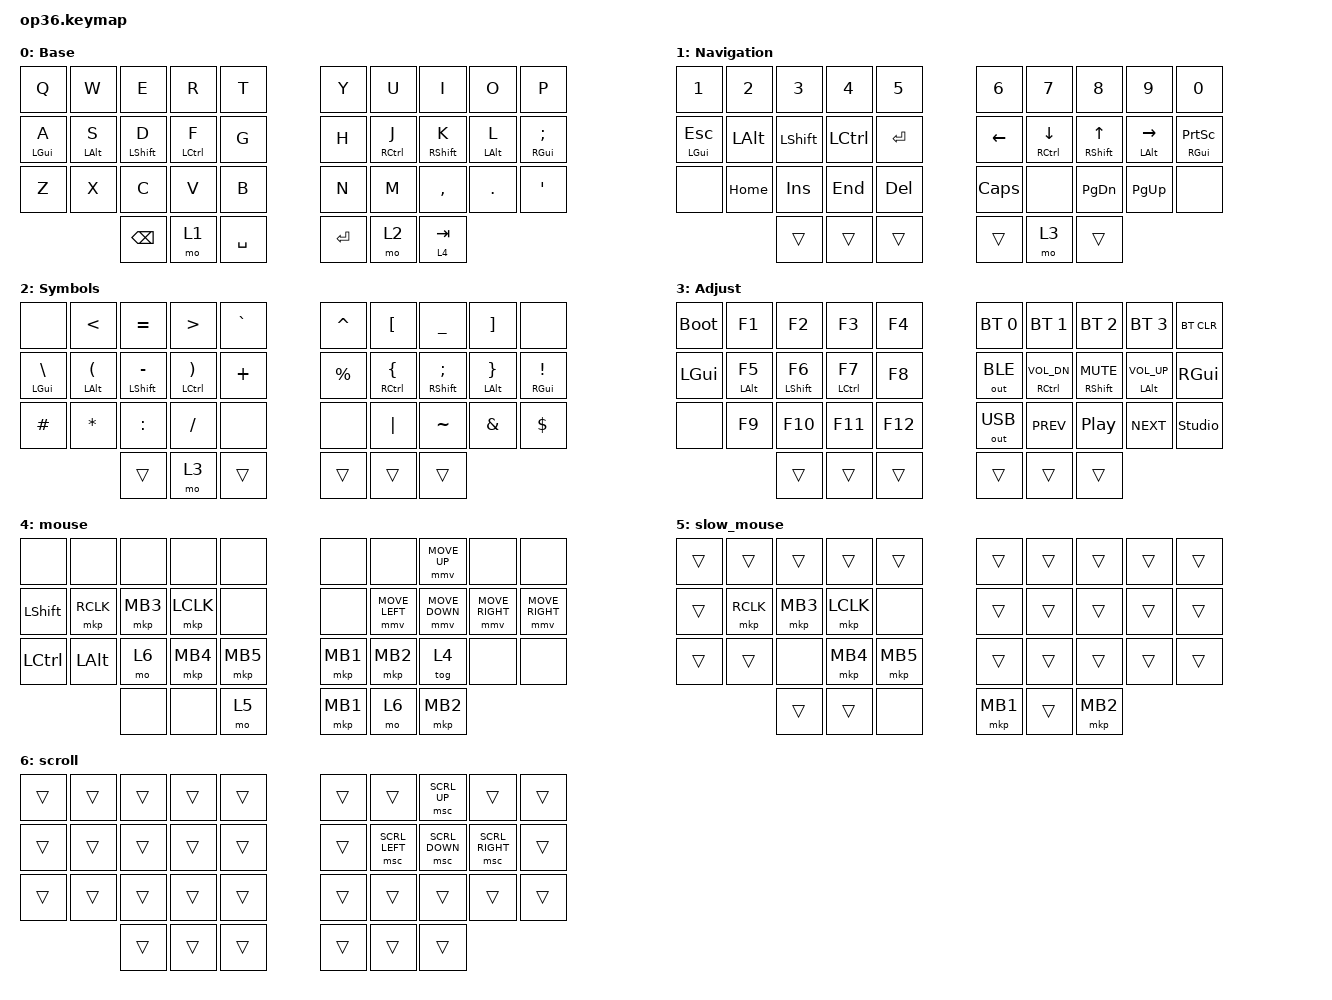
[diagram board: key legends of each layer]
#include "keys_ru.h"

#define ZMK_POINTING_DEFAULT_MOVE_VAL 1500  // default: 600
#define ZMK_POINTING_DEFAULT_SCRL_VAL 25    // default: 10
#define SLOW_MOUSE_L 5
#define MOUSE_L 4

#include <input/processors.dtsi>
#include <behaviors.dtsi>
#include <dt-bindings/zmk/bt.h>
#include <dt-bindings/zmk/keys.h>
#include <dt-bindings/zmk/outputs.h>
#include <dt-bindings/zmk/pointing.h>

&mt {
    quick-tap-ms = <200>;
    flavor = "tap-preferred";
    require-prior-idle-ms = <125>;
};

&mmv_input_listener {
    set_mouse_fast {
        layers = <SLOW_MOUSE_L>;
        input-processors = <&zip_xy_scaler 2 5>;
    };
};

/ {
    behaviors {
        hml: home_row_mod_left {
            compatible = "zmk,behavior-hold-tap";
            #binding-cells = <2>;
            flavor = "balanced";
            require-prior-idle-ms = <150>;
            tapping-term-ms = <200>;
            quick-tap-ms = <200>;
            bindings = <&kp>, <&kp>;

            hold-trigger-key-positions = <5 6 7 8 9 15 16 17 18 19 25 26 27 28 29 33 34 35>;
            hold-trigger-on-release;
        };

        hmr: home_row_mod_right {
            compatible = "zmk,behavior-hold-tap";
            #binding-cells = <2>;
            flavor = "balanced";
            require-prior-idle-ms = <150>;
            tapping-term-ms = <200>;
            quick-tap-ms = <200>;
            bindings = <&kp>, <&kp>;

            hold-trigger-key-positions = <0 1 2 3 4 10 11 12 13 14 20 21 22 23 24 30 31 32>;
            hold-trigger-on-release;
        };

        mokp: mo_or_key {
            compatible = "zmk,behavior-hold-tap";
            label = "mo_or_press_key";
            bindings = <&mo>, <&kp>;

            #binding-cells = <2>;
            tapping-term-ms = <200>;
            quick-tap-ms = <200>;
            require-prior-idle-ms = <150>;
            flavor = "balanced";
            hold-trigger-on-release;
        };

        tog_kp: tog_kp {
            compatible = "zmk,behavior-hold-tap";
            label = "TOG_KP";
            #binding-cells = <2>;
            tapping-term-ms = <280>;
            quick-tap-ms = <175>;
            require-prior-idle-ms = <150>;
            flavor = "balanced";
            hold-trigger-on-release;
            bindings = <&tog>, <&kp>;
        };

        tog_on: tog_on {
            compatible = "zmk,behavior-toggle-layer";
            label = "TOG_ON";
            #binding-cells = <1>;
        };
    };

    combos {
        compatible = "zmk,combos";

        kha {
            bindings = <&kp LBKT>;
            key-positions = <6 7>;
        };

        hrdsgn {
            bindings = <&kp RBKT>;
            key-positions = <7 8>;
        };

        combo_perma_mouse {
            bindings = <&tog 4>;
            key-positions = <30 35>;
            layers = <0 4>;
        };

        yo {
            bindings = <&kp GRAVE>;
            key-positions = <3 4>;
        };

        caps_word {
            bindings = <&caps_word>;
            key-positions = <12 17>;
            layers = <0>;
        };
    };

    keymap {
        compatible = "zmk,keymap";

        base {
            bindings = <
  &kp Q        &kp W        &kp E         &kp R          &kp T                          &kp Y  &kp U         &kp I         &kp O        &kp P
  &hml LGUI A  &hml LALT S  &hml LSHFT D  &hml LCTRL F   &kp G                          &kp H  &hmr RCTRL J  &hmr RSHFT K  &hmr LALT L  &hmr RGUI SEMICOLON
  &kp Z        &kp X        &kp C         &kp V          &kp B                          &kp N  &kp M         &kp COMMA     &kp DOT      &kp SQT
                                          &kp BACKSPACE  &mo 1  &kp SPACE    &kp ENTER  &mo 2  &mokp 4 TAB
            >;

            display-name = "Base";
        };

        nav {
            bindings = <
  &kp N1         &kp N2    &kp N3     &kp N4     &kp N5                        &kp N6          &kp N7                 &kp N8               &kp N9                 &kp N0
  &hml LGUI ESC  &kp LALT  &kp LSHFT  &kp LCTRL  &kp ENTER                     &kp LEFT_ARROW  &hmr RCTRL DOWN_ARROW  &hmr RSHFT UP_ARROW  &hmr LALT RIGHT_ARROW  &hmr RGUI PRINTSCREEN
  &none          &kp HOME  &kp INS    &kp END    &kp DELETE                    &kp CAPS        &none                  &kp PG_DN            &kp PG_UP              &none
                                      &trans     &trans      &trans    &trans  &mo 3           &trans
            >;

            display-name = "Navigation";
        };

        sym {
            bindings = <
  &none           &kp LT          &kp EQUAL         &kp GT           &kp GRAVE                    &kp CARET  &kp LBKT         &kp UNDER        &kp RBKT        &none
  &hml LGUI BSLH  &hml LALT LPAR  &hml LSHFT MINUS  &hml LCTRL RPAR  &kp PLUS                     &kp PRCNT  &hmr RCTRL LBRC  &hmr RSHFT SEMI  &hmr LALT RBRC  &hmr RGUI EXCL
  &kp HASH        &kp STAR        &kp COLON         &kp FSLH         &none                        &none      &kp PIPE         &kp TILDE        &kp AMPS        &kp DLLR
                                                    &trans           &mo 3      &trans    &trans  &trans     &trans
            >;

            display-name = "Symbols";
        };

        adj {
            bindings = <
  &bootloader  &kp F1        &kp F2         &kp F3         &kp F4                     &bt BT_SEL 0  &bt BT_SEL 1         &bt BT_SEL 2       &bt BT_SEL 3        &bt BT_CLR
  &kp LGUI     &hml LALT F5  &hml LSHFT F6  &hml LCTRL F7  &kp F8                     &out OUT_BLE  &hmr RCTRL C_VOL_DN  &hmr RSHFT C_MUTE  &hmr LALT C_VOL_UP  &kp RGUI
  &none        &kp F9        &kp F10        &kp F11        &kp F12                    &out OUT_USB  &kp C_PREV           &kp C_PP           &kp C_NEXT          &studio_unlock
                                            &trans         &trans   &trans    &trans  &trans        &trans
            >;

            display-name = "Adjust";
        };

        mouse {
            bindings = <
  &none           &none         &none     &none      &none                        &none     &none           &mmv MOVE_UP    &none            &none
  &kp LEFT_SHIFT  &mkp RCLK     &mkp MB3  &mkp LCLK  &none                        &none     &mmv MOVE_LEFT  &mmv MOVE_DOWN  &mmv MOVE_RIGHT  &mmv MOVE_RIGHT
  &kp LCTRL       &kp LEFT_ALT  &mo 6     &mkp MB4   &mkp MB5                     &mkp MB1  &mkp MB2        &tog 4          &none            &none
                                          &none      &none     &mo 5    &mkp MB1  &mo 6     &mkp MB2
            >;
        };

        slow_mouse {
            bindings = <
  &trans  &trans     &trans    &trans     &trans                       &trans  &trans    &trans  &trans  &trans
  &trans  &mkp RCLK  &mkp MB3  &mkp LCLK  &none                        &trans  &trans    &trans  &trans  &trans
  &trans  &trans     &none     &mkp MB4   &mkp MB5                     &trans  &trans    &trans  &trans  &trans
                               &trans     &trans    &none    &mkp MB1  &trans  &mkp MB2
            >;
        };

        scroll {
            bindings = <
  &trans  &trans  &trans  &trans  &trans                    &trans  &trans          &msc SCRL_UP    &trans           &trans
  &trans  &trans  &trans  &trans  &trans                    &trans  &msc SCRL_LEFT  &msc SCRL_DOWN  &msc SCRL_RIGHT  &trans
  &trans  &trans  &trans  &trans  &trans                    &trans  &trans          &trans          &trans           &trans
                          &trans  &trans  &trans    &trans  &trans  &trans
            >;
        };
    };
};
